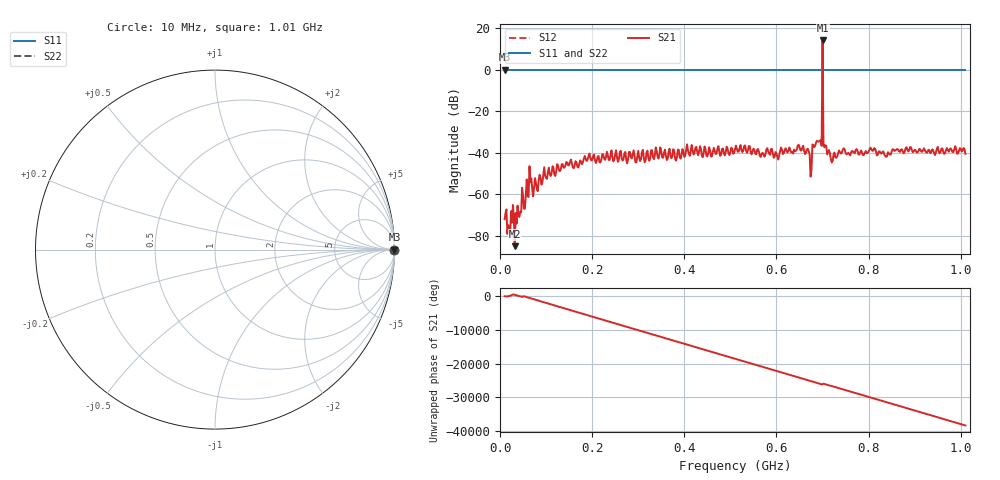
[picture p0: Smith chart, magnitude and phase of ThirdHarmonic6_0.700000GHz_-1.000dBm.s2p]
! 8/15/2025 11:23:45 PM
! C:\ANRITSUVNA\TEMP\TEMP.S2P
! CHANNEL.1
! TR.MEASUREMENT
! RAW.DATA
! RF.CORRECTION.OFF
! AVERAGING.OFF
! IF.BANDWIDTH: 5KHZ
! SWEEPTYPE:  FREQ.SWEEP(Linear)
! Reference Plane Port Info
! PORT:  PORT1  PORT2
! DISTANCE:  0  m  0  m
! TIME:  0  s  0  s
! PHASE.OFFSET:  0  deg.  0  deg.
! LOSS:  0  dB  0  dB
! REF.LOSS:  0  dB  0  dB
! REF.FREQ:  0  Hz  0  Hz
! Power Info
! POWER:  -20  dBm  -20  dBm
! EFF.POWER:  -20  dBm  -20  dBm
! SOURCE.ATTEN:  0  dB  0  dB
! TEST.ATTEN:  0  dB  0  dB
# GHZ S RI R 50.0
! FREQ.GHZ  S11RE  S11IM  S21RE  S21IM  S12RE  S12IM  S22RE  S22IM
!; PortSelection: Port_12
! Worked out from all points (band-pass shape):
!   501 points, 10 MHz to 1.01 GHz, reference 50 ohm
!   highest |S21| = 14.06 dB at 700 MHz (marker M1); lowest = -85.1 dB at 32 MHz (marker M2)
!   |S21| within 3 dB of the highest: 699.8819 MHz to 700.1208 MHz (238.9 kHz wide, 0.0341 % of centre)
!   lowest |S11| = 0.0 dB at 10 MHz (marker M3)
!   |S11| at or under -10 dB: nowhere
!   |S22| runs from 0.0 to 0.0 dB; largest |S21 - S12| = 5.9
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0.01  1 0  -1.3e-05 -0.000248  1 0  1 0
0.02  1 0  8.86e-05 9.59e-05  1 0  1 0
0.032  1 0  4.5e-05 -3.25e-05  1 0  1 0
0.056  1 0  -0.000704 0.000594  1 0  1 0
0.062  1 0  -0.000735 -0.000428  1 0  1 0
0.178  1 0  -0.00523 -0.000142  1 0  1 0
0.344  1 0  0.00666 -0.00266  1 0  1 0
0.51  1 0  -0.0104 0.00553  1 0  1 0
0.6  1 0  -0.00347 0.00889  1 0  1 0
0.648  1 0  0.0153 -0.00249  1 0  1 0
0.672  1 0  -0.00351 0.00833  1 0  1 0
0.678  1 0  -0.00817 -0.0134  1 0  1 0
0.682  1 0  0.00428 0.0128  1 0  1 0
0.694  1 0  0.00635 -0.0178  1 0  1 0
0.696  1 0  -0.0189 -0.00695  1 0  1 0
0.7  1 0  -4.332 2.585  1 0  1 0
0.704  1 0  -0.00757 -0.0111  1 0  1 0
0.706  1 0  -0.0134 0.00684  1 0  1 0
0.72  1 0  0.00379 -0.00437  1 0  1 0
0.746  1 0  0.0127 0.000196  1 0  1 0
0.844  1 0  0.00832 0.00492  1 0  1 0
1.01  1 0  -0.00923 -0.00169  1 0  1 0
